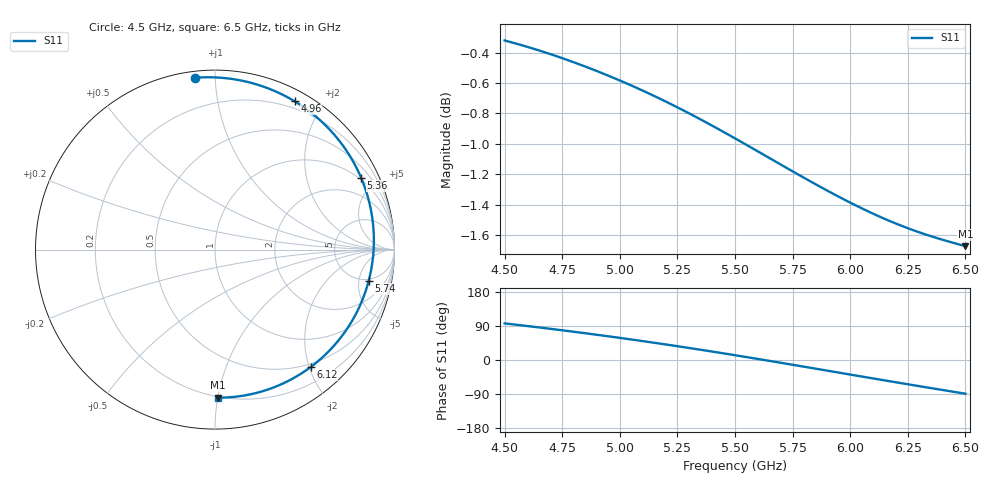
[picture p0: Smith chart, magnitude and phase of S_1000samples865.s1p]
! TOUCHSTONE file generated by CST MICROWAVE STUDIO
! Date and time: Sat Oct 29 15:36:16 2022
! Project name: L.cst
! Parameters = {Di=1.27; Epsilon_r=1.56; InnerDiameter=1.27; Length=2; Lf=10; Lg=60; OuterConductorThickness=0.2921; OuterDiameter=3.6; Wf=3; Wp=41.2; de=1.5; df=6.8; g=0.8; gx=3.83092; gy=4.29157; h=2.34; hf=1.524; px=9.99671; py=12.5387; w=9.7; wx=6.1658; wy=8.24712}
! Header version: 2018
! Port assignment regex: !\s*Touchstone port\s*([0-9]+)\s*=\s*(CST MWS port|CST DS port)\s*([0-9]+|Zmin|Zmax)\s*\(\"(.*)\"\)(\s*mode\s*([0-9]+))?.*
! Touchstone port assignment:
! Touchstone port 1 = CST MWS port 1 ("")
# GHz S DB R 50
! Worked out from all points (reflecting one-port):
!   101 points, 4.5 GHz to 6.5 GHz, reference 50 ohm
!   lowest |S11| = -1.7 dB at 6.5 GHz (marker M1), VSWR 10.42, Z = 9.69 - j50 ohm
!   phase of S11 starts at 97 deg and turns -186 deg over the sweep
!   S11 on the Smith chart (normalised r, x): 4.5 GHz: 0.03, +0.89; 4.96 GHz: 0.12, +1.67; 5.36 GHz: 0.91, +4.11; 5.74 GHz: 4.61, -6.82; 6.12 GHz: 0.45, -2.03; 6.5 GHz: 0.19, -1.00
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4.5  -0.32 96.6
4.64  -0.38 86.6
4.76  -0.44 77.6
4.86  -0.50 69.8
4.96  -0.56 61.7
5  -0.58 58.4
5.12  -0.66 48.1
5.18  -0.71 42.8
5.26  -0.77 35.5
5.36  -0.85 26.2
5.44  -0.91 18.5
5.5  -0.96 12.6
5.56  -1.02 6.7
5.62  -1.07 0.7
5.68  -1.12 -5.4
5.74  -1.17 -11.5
5.76  -1.19 -13.6
5.82  -1.24 -19.8
5.88  -1.29 -26.0
5.94  -1.34 -32.2
6  -1.39 -38.4
6.12  -1.47 -50.8
6.2  -1.53 -58.9
6.26  -1.56 -65.0
6.32  -1.59 -71.1
6.38  -1.62 -77.1
6.44  -1.65 -83.0
6.5  -1.67 -88.9
